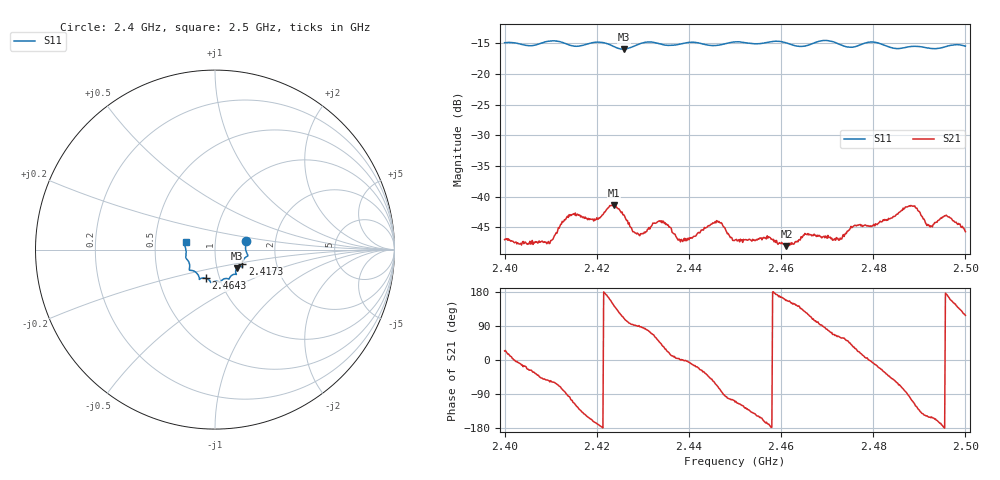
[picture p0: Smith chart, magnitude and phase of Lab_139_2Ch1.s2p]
# Hz S RI R 50
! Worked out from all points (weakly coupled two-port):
!   601 points, 2.4 GHz to 2.5 GHz, reference 50 ohm
!   highest |S21| = -41.42 dB at 2.4237 GHz (marker M1); lowest = -48.1 dB at 2.4612 GHz (marker M2)
!   lowest |S11| = -15.9 dB at 2.4258 GHz (marker M3), VSWR 1.38, Z = 62.3 - j13.2 ohm
!   |S11| at or under -10 dB: start of sweep to end of sweep
!   S12 and S22 are empty: the file has one direction only
!   S11 on the Smith chart (normalised r, x): 2.4 GHz: 1.41, +0.14; 2.4173 GHz: 1.34, -0.23; 2.4643 GHz: 0.86, -0.28; 2.5 GHz: 0.72, +0.06
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2.4e9  0.1734 0.0491  0.00406 0.0018  0 0  0 0
2.409333e9  0.1825 -0.0303  0.00253 -0.00336  0 0  0 0
2.413833e9  0.1675 -0.0455  -0.000673 -0.00672  0 0  0 0
2.416667e9  0.153 -0.0749  -0.00496 -0.00484  0 0  0 0
2.417333e9  0.1523 -0.0824  -0.00526 -0.00403  0 0  0 0
2.423667e9  0.1392 -0.0939  -0.00693 0.00491  0 0  0 0
2.425833e9  0.1216 -0.1033  -0.00256 0.00664  0 0  0 0
2.428833e9  0.1155 -0.13  8.83e-05 0.00503  0 0  0 0
2.433333e9  0.113 -0.1371  0.0039 0.00492  0 0  0 0
2.438167e9  0.0821 -0.1554  0.00427 -7.14e-06  0 0  0 0
2.4465e9  0.044 -0.1664  0.00166 -0.00605  0 0  0 0
2.45e9  0.0293 -0.1808  -0.00156 -0.00413  0 0  0 0
2.461167e9  -0.0265 -0.1775  -0.00365 0.00148  0 0  0 0
2.464333e9  -0.05 -0.1603  -0.00338 0.00326  0 0  0 0
2.466667e9  -0.0757 -0.1593  -0.00168 0.00448  0 0  0 0
2.472667e9  -0.0894 -0.1505  0.00214 0.00386  0 0  0 0
2.475667e9  -0.1129 -0.1219  0.00471 0.00324  0 0  0 0
2.483333e9  -0.1407 -0.0897  0.00491 -0.00447  0 0  0 0
2.4885e9  -0.1611 -0.0482  -0.00257 -0.00793  0 0  0 0
2.492e9  -0.1608 -0.0259  -0.00506 -0.00283  0 0  0 0
2.496e9  -0.1672 0.0189  -0.0069 0.000939  0 0  0 0
2.5e9  -0.1637 0.0421  -0.00241 0.00458  0 0  0 0
